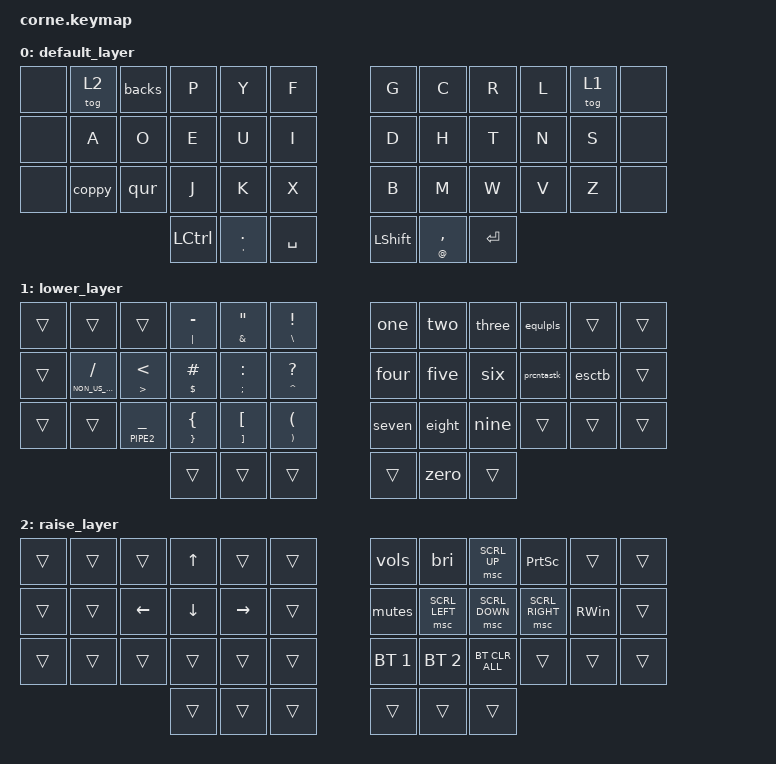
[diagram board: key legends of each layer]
/*
 * Copyright (c) 2020 The ZMK Contributors
 *
 * SPDX-License-Identifier: MIT
 */

#include <behaviors.dtsi>
#include <dt-bindings/zmk/keys.h>
#include <behaviors/num_word.dtsi>
#include <dt-bindings/zmk/bt.h>
#include <dt-bindings/zmk/pointing.h>

/ {
    behaviors {
backs: back_del {
    compatible = "zmk,behavior-mod-morph";
    #binding-cells = <0>;
    bindings = <&kp BKSP>, <&kp DEL>;
    mods = <(MOD_LSFT|MOD_RSFT)>;
};

esctb: esc_tab {
    compatible = "zmk,behavior-mod-morph";
    #binding-cells = <0>;
    bindings = <&kp TAB>, <&kp ESC>;
    mods = <(MOD_LSFT|MOD_RSFT)>;
};

uppies: shift_caps {
    compatible = "zmk,behavior-mod-morph";
    #binding-cells = <0>;
    bindings = <&kp LSHFT>, <&kp CAPS>;
    mods = <(MOD_LCTL)>;
};

coppy: tap_dance_copy_paste {
    compatible = "zmk,behavior-tap-dance";
    #binding-cells = <0>;
    tapping-term-ms = <200>;
    bindings = <&kp LC(C)>, <&kp LC(V)>;
};

qur: tap_dance_q_undo_redo {
    compatible = "zmk,behavior-tap-dance";
    #binding-cells = <0>;
    tapping-term-ms = <200>;
    bindings = <&kp Q>, <&kp LC(Z)>, <&kp LC(Y)>;
};

equlpls: equal_plus {
    compatible = "zmk,behavior-mod-morph";
    #binding-cells = <0>;
    bindings = <&kp EQUAL>, <&kp PLUS>;
    mods = <(MOD_LSFT|MOD_RSFT)>;
};

prcntastk: percent_asterisk {
    compatible = "zmk,behavior-mod-morph";
    #binding-cells = <0>;
    bindings = <&kp PRCNT>, <&kp ASTRK>;
    mods = <(MOD_LSFT|MOD_RSFT)>;
};

one: 1_F1 {
    compatible = "zmk,behavior-mod-morph";
    #binding-cells = <0>;
    bindings = <&kp N1>, <&kp F1>;
    mods = <(MOD_LSFT|MOD_RSFT)>;
};

two: 2_F2 {
    compatible = "zmk,behavior-mod-morph";
    #binding-cells = <0>;
    bindings = <&kp N2>, <&kp F2>;
    mods = <(MOD_LCTL)>;
};

three: 3_F3 {
    compatible = "zmk,behavior-mod-morph";
    #binding-cells = <0>;
    bindings = <&kp N3>, <&kp F3>;
    mods = <(MOD_LCTL)>;
};

four: 4_F4 {
    compatible = "zmk,behavior-mod-morph";
    #binding-cells = <0>;
    bindings = <&kp N4>, <&kp F4>;
    mods = <(MOD_LCTL)>;
};

five: 5_F5 {
    compatible = "zmk,behavior-mod-morph";
    #binding-cells = <0>;
    bindings = <&kp N5>, <&kp F5>;
    mods = <(MOD_LCTL)>;
};

six: 6_F6 {
    compatible = "zmk,behavior-mod-morph";
    #binding-cells = <0>;
    bindings = <&kp N6>, <&kp F6>;
    mods = <(MOD_LCTL)>;
};

seven: 7_F7 {
    compatible = "zmk,behavior-mod-morph";
    #binding-cells = <0>;
    bindings = <&kp N7>, <&kp F7>;
    mods = <(MOD_LCTL)>;
};

eight: 8_F8 {
    compatible = "zmk,behavior-mod-morph";
    #binding-cells = <0>;
    bindings = <&kp N8>, <&kp F8>;
    mods = <(MOD_LCTL)>;
};

nine: 9_F9 {
    compatible = "zmk,behavior-mod-morph";
    #binding-cells = <0>;
    bindings = <&kp N9>, <&kp F9>;
    mods = <(MOD_LCTL)>;
};

zero: 0_F10 {
    compatible = "zmk,behavior-mod-morph";
    #binding-cells = <0>;
    bindings = <&mt COMMA N0>, <&kp F10>;
    mods = <(MOD_LCTL)>;
};
mutes: voldwn_mute {
            compatible = "zmk,behavior-mod-morph";
            #binding-cells = <0>;
            bindings = <&kp C_VOL_DN>, <&kp C_MUTE>;
            mods = <(MOD_LCTL)>;
        };  

vols: volup_voldwn_mute {
            compatible = "zmk,behavior-mod-morph";
            #binding-cells = <0>;
            bindings = <&kp C_VOL_UP>, <&mutes>;
            mods = <(MOD_LSFT|MOD_RSFT)>;
};

btmorph: tap_dance_bt1_bt2_btclr {
    compatible = "zmk,behavior-tap-dance";
    #binding-cells = <0>;
    tapping-term-ms = <200>;
    bindings = <&bt BT_SEL 1>, <&bt BT_SEL 2>, <&bt BT_CLR_ALL>;
};

bri: brightup_brightdwn {
    compatible = "zmk,behavior-mod-morph";
    #binding-cells = <0>;
    bindings = <&kp C_BRI_DN>, <&kp C_BRI_UP>;
    mods = <(MOD_LSFT|MOD_RSFT)>;
};
};

    keymap {
        compatible = "zmk,keymap";

        default_layer {
            // -----------------------------------------------------------------------------------------
            // | N/A | LWR | ⌫ |  P  |  Y  |  F  |      |  G  |  C  |  R  |  L  | RSE | N/A |
            // | N/A |  A  |  O  |  E  |  U  |  I  |      |  D  |  H  |  T  |  N  |  S  | N/A |
            // | N/A |coppy|  Q  |  J  |  K  |  X  |      |  B  |  M  |  W  |  V  |  Z  | N/A |
            //                    | CTRL | .(') | __ |  |  ⬆  | ,(") |  ↵  |

            bindings = <
&none   &tog 2  &backs  &kp P   &kp Y   &kp F           &kp G   &kp C   &kp R   &kp L   &tog 1  &none
&none   &kp A   &kp O   &kp E   &kp U   &kp I           &kp D   &kp H   &kp T   &kp N   &kp S   &none
&none   &coppy  &qur    &kp J   &kp K   &kp X           &kp B   &kp M   &kp W   &kp V   &kp Z   &none
      &kp LCTRL  &mt SINGLE_QUOTE DOT  &kp SPACE      &kp LSHIFT  &mt AT COMMA  &kp RET 
            >;
        };

        lower_layer {
            // ---------------------https://github.com/FlaviaRas/zmk-configold/issues--------------------------------------------------------------------
            // | N/A | LWR | ⌫ | -(~)| @(&)| !(#)|      |  1  |  2  |  3  | =(+)| RSE | N/A |
            // | N/A | /(\)| <(>)| £($)| :(;)| ?(^)|      |  4  |  5  |  6  | %(*)|esttb| N/A |
            // | N/A |coppy| _(|)| {(})| [(])| (())|      |  7  |  8  |  9  |     |     | N/A |
            //                    | CTRL | .(') | __ |  |  ⬆  | 0(,) |  ↵  |

            bindings = <
&trans       &trans          &trans          &mt PIPE MINUS   &mt AMPS DQT   &mt BSLH EXCL             &one       &two       &three      &equlpls        &trans         &trans
&trans  &mt NON_US_BACKSLASH FSLH &mt GT LT  &mt DOLLAR POUND &mt SEMI COLON &mt CARET QMARK           &four      &five      &six        &prcntastk      &esctb         &trans
&trans       &trans          &mt PIPE2 UNDER &mt RBRC LBRC    &mt RBKT LBKT  &mt RPAR LPAR             &seven     &eight     &nine       &trans          &trans         &trans
                                                  &trans         &trans          &trans              &trans       &zero      &trans
            >;   
        };

        raise_layer {
            // -----------------------------------------------------------------------------------------
            // | N/A | LWR | ⌫ |  ⬆  |     |     |      |  V+ |  V- |  Vx |PSCN | RSE | N/A |
            // | N/A |     |  ⬅ |  ⬇  |  ⮕ |     |      | sc⬇ | sc⬆ |     |  B+ |  B- | N/A |
            // | N/A |     |     |     |     |     |      |     |     |     |     | WIN | N/A |
            //                    | CTRL | .(') | __ |  |  ⬆  | ,(") |  ↵  |

            bindings = <
&trans         &trans          &trans         &kp UP          &trans         &trans                    &vols          &bri            &msc SCRL_UP     &kp PSCRN        &trans           &trans
&trans         &trans          &kp LEFT       &kp DOWN        &kp RIGHT      &trans                    &mutes         &msc SCRL_LEFT  &msc SCRL_DOWN   &msc SCRL_RIGHT  &kp RWIN         &trans
&trans         &trans          &trans         &trans          &trans         &trans                    &bt BT_SEL 1   &bt BT_SEL 2    &bt BT_CLR_ALL   &trans           &trans           &trans
                                                  &trans         &trans          &trans          &trans         &trans          &trans 
            >;   
        };
    };
};
